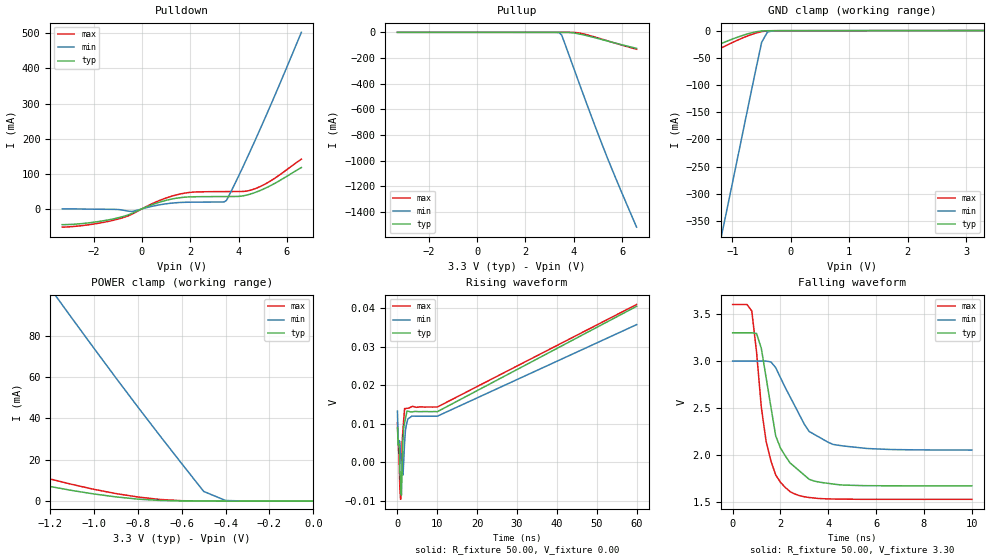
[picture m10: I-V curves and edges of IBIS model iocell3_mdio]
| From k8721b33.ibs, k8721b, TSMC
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|   Model iocell3_mdio
[Model]   iocell3_mdio
Model_type   I/O
Polarity   Non-Inverting
Enable   Active-Low
Vinl =   0.80V
Vinh =   2.00V
Vmeas =  1.50V
C_comp   5.19e-12F   5.51e-12F   4.82e-12F
[Temperature Range]   25   125   0
[Voltage Range]   3.30V   3.00V   3.60V
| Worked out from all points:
|   slope of the pulldown table from 0 to 0.495 V, typ, clamps not added: 36.1 ohm
|   slope of the pullup table from 0 to 0.495 V, typ, clamps not added: 12.5 kohm
|   GND clamp passes 1 mA (typ) near -0.51 V on its own axis
|   POWER clamp passes 1 mA (typ) near -0.80 V on its own axis
|   falling waveform, R_fixture 50.00, V_fixture 3.30: 20-80 % time 882ps typ, 1.23ns min, 637ps max; typ from 3.3 V to 1.68 V
[POWER_clamp]
| voltage   I(typ)   I(min)   I(max)
-3.3V     67.85mA    428.2mA    81.99mA
-2.7V     49.46mA    333.2mA    62.04mA
-1.9V     25.04mA    208.5mA    33.51mA
-1.5V     14.02mA    147.6mA    19.78mA
-1.2V     7.07mA     103mA      10.7mA
-1.1V     5.141mA    88.34mA    8.079mA
-900mV    2.047mA    59.56mA    3.645mA
-800mV    968.9uA    45.48mA    2mA
-700mV    332.1uA    31.67mA    814.3uA
-500mV    45.22uA    4.687mA    54.51uA
-400mV    32.21uA    297.7uA    32.72uA
0V        358pA      32.75nA    736.6pA
[GND_clamp]
| voltage   I(typ)   I(min)   I(max)
-3.3V     -124.8mA   -1.386A    -146.4mA
-2.5V     -87.67mA   -1.028A    -105.5mA
-1.2V     -24.33mA   -384.3mA   -32.58mA
-1.1V     -19.91mA   -332.5mA   -27.23mA
-700mV    -4.926mA   -123.9mA   -8.304mA
-500mV    -805uA     -21.9mA    -1.95mA
-400mV    -346.2uA   -2.687mA   -586.6uA
-200mV    -280.1uA   -265.6uA   -304.5uA
3.3V      358pA      38.6uA     -24uA
[Pullup]
| voltage   I(typ)   I(min)   I(max)
-3.3V     0A         0A         0A
3.4V      -272uA     -2.687mA   -272uA
3.5V      -280.1uA   -21.9mA    -280uA
4.2V      -11.75mA   -384.3mA   -4.683mA
4.8V      -38.39mA   -689.6mA   -32.58mA
5.4V      -68.02mA   -981.7mA   -66.35mA
5.9V      -92.49mA   -1.21A     -94.52mA
6.6V      -124.8mA   -1.517A    -131.6mA
[Pulldown]
| voltage   I(typ)   I(min)   I(max)
-3.3V     -44.97mA   -85uA      -52.15mA
-2.1V     -39.03mA   -878.2uA   -44.3mA
-900mV    -24mA      -2.509mA   -27.45mA
-400mV    -12.39mA   -7.38mA    -14.81mA
700mV     18.41mA    11.08mA    23.08mA
1.6V      32.02mA    18.2mA     42.54mA
3.4V      35.06mA    19.76mA    49.15mA
3.5V      35.09mA    24.05mA    49.19mA
4.3V      38.72mA    137.2mA    50.27mA
4.8V      49.69mA    212.8mA    60.62mA
5.5V      72.65mA    322.8mA    87.28mA
6.6V      117.6mA    502.9mA    141.5mA
[Ramp]
| variable   typ   min   max
dV/dt_r   0.93/1.10e-09   0.57/1.65e-09   1.22/7.86e-10
dV/dt_f   0.97/8.69e-10   0.57/1.23e-09   1.24/6.22e-10
R_load = 50.00
[Rising Waveform]
R_fixture = 50.00
V_fixture = 0.00
V_fixture_min = 0.00
V_fixture_max = 0.00
| time   V(typ)   V(min)   V(max)
|0.0000e+00   2.6354e-06   2.5975e-06   2.8739e-06
0s        8.95mV     13.3mV     10.27mV
200ps     4.433mV    4.635mV    4.496mV
400ps     4.812mV    5.632mV    1.364mV
800ps     -5.866mV   1.608mV    -9.634mV
1ns       -8.573mV   -1.332mV   -3.915mV
1.2ns     -755.2uV   -2.961mV   5.583mV
1.4ns     5.836mV    -3.301mV   8.765mV
1.8ns     10.27mV    5.265mV    13.93mV
3.6ns     13.07mV    11.97mV    14.43mV
60ns      40.5mV     35.74mV    40.97mV
[Falling Waveform]
R_fixture = 50.00
V_fixture = 3.30
V_fixture_min = 3.00
V_fixture_max = 3.60
| time   V(typ)   V(min)   V(max)
0s        3.3V       3V         3.6V
800ps     3.3V       3V         3.531V
1ns       3.292V     3V         3.095V
1.2ns     3.133V     3V         2.507V
1.4ns     2.824V     3V         2.147V
1.8ns     2.206V     2.93V      1.791V
2.4ns     1.919V     2.621V     1.614V
3.2ns     1.745V     2.252V     1.552V
4.2ns     1.695V     2.115V     1.536V
10ns      1.676V     2.055V     1.533V
